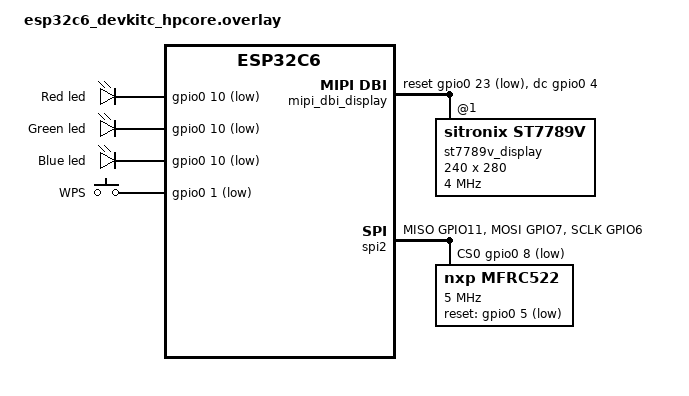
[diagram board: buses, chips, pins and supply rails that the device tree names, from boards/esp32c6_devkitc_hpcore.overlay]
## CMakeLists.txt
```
cmake_minimum_required(VERSION 3.20.0)

# Supported boards:
#   esp32c6_devkitc/esp32c6/hpcore  (default)
#   esp32_devkitc/esp32/procpu
if(NOT DEFINED BOARD)
  set(BOARD esp32c6_devkitc/esp32c6/hpcore )
endif()

find_package(Zephyr REQUIRED HINTS $ENV{ZEPHYR_BASE})

project(baiatool)

file(GLOB_RECURSE SOURCE_FILES
    ${CMAKE_CURRENT_LIST_DIR}/src/*.c
)

if(NOT CONFIG_LVGL)
    list(FILTER SOURCE_FILES EXCLUDE REGEX ".*/services/display\\.c$")
    list(FILTER SOURCE_FILES EXCLUDE REGEX ".*/assets/logo_baiatool\\.c$")
endif()

if(NOT CONFIG_RFID_SERVICE)
    list(FILTER SOURCE_FILES EXCLUDE REGEX ".*/services/rfid\\.c$")
endif()

target_sources(app PRIVATE ${SOURCE_FILES})

target_include_directories(app PRIVATE
    ${CMAKE_CURRENT_LIST_DIR}/includes
)

target_link_options(app PRIVATE -Wl,--wrap=esp_event_post)

# tf-psa-crypto extras/md.c has unused-parameter warnings that become errors
# via zephyr_interface; suppress them for that target only.
if(TARGET extras)
  target_compile_options(extras PRIVATE -Wno-unused-parameter)
endif()
```

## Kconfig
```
menu "Zephyr"
source "Kconfig.zephyr"
endmenu

rsource "Kconfig.storage"
rsource "Kconfig.wifi"
rsource "Kconfig.schedule"
rsource "Kconfig.sntp"
rsource "Kconfig.endpoints"
rsource "Kconfig.led"
rsource "Kconfig.button"
rsource "Kconfig.settings"
rsource "Kconfig.rfid"
rsource "Kconfig.display"

module = MAIN
module-str = main
source "subsys/logging/Kconfig.template.log_config"
```

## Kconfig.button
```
module = BUTTON
module-str = button
source "subsys/logging/Kconfig.template.log_config"
```

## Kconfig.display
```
module = DISPLAY_SERVICE
module-str = display_service
source "subsys/logging/Kconfig.template.log_config"

menu "Display service"

    config DISPLAY_SERVICE_CMD_SUB_QUEUE_SIZE
        int "Display command subscriber queue size"
        default 4

    config DISPLAY_SERVICE_WARNING_MSG_MAX_LEN
        int "Max warning message length in bytes"
        default 64

    config DISPLAY_SERVICE_THREAD_STACK_SIZE
        int "Display service thread stack size"
        default 8192
        help
          Stack must accommodate LVGL rendering + snprintf buffers.

    config DISPLAY_SERVICE_THREAD_PRIORITY
        int "Display service thread priority"
        default 6

    config DISPLAY_SERVICE_LVGL_PERIOD_MS
        int "LVGL timer handler period in milliseconds"
        default 20
        help
          Period at which lv_timer_handler() is called when no zbus
          event arrives. Controls UI animation / refresh rate.

endmenu
```

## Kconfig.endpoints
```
module = SCHEDULE_ENDPOINT
module-str = schedule_endpoint
source "subsys/logging/Kconfig.template.log_config"

module = CONFIRM_SCHEDULE_ENDPOINT
module-str = confirm_schedule_endpoint
source "subsys/logging/Kconfig.template.log_config"

module = CHECKOUT_ENDPOINT
module-str = checkout_endpoint
source "subsys/logging/Kconfig.template.log_config"

module = DIAGNOSTIC_ENDPOINT
module-str = diagnostic_endpoint
source "subsys/logging/Kconfig.template.log_config"

menu "Endpoints"
    config HTTP_RECV_BUF_SIZE
        int "Size for receive buffer in HTTP response"
        default 512

    config HTTP_BODY_BUF_SIZE
        int "Size of HTTP body response"
        default 256

    config SERVER_HOST
        string "Baiatool server hostname"
        default "192.0.2.1"
        help
            Mocked placeholder until the real server address is defined.
            Used by the id_manager to open sockets autonomously (without a
            shell command providing host/port).

    config SERVER_PORT
        string "Baiatool server port"
        default "80"
        help
            Mocked placeholder until the real server address is defined.
endmenu
```

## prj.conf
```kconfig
# NVS
CONFIG_NVS=y
CONFIG_FLASH=y

# Networking
CONFIG_NETWORKING=y
CONFIG_NET_IPV4=y
CONFIG_NET_IPV6=n
CONFIG_NET_TCP=y
CONFIG_NET_DHCPV4=y
CONFIG_NET_L2_ETHERNET=y

# WiFi
CONFIG_WIFI=y
CONFIG_NET_L2_WIFI_MGMT=y
CONFIG_NET_MGMT=y
CONFIG_NET_MGMT_EVENT=y
CONFIG_NET_MGMT_EVENT_INFO=y
CONFIG_NET_MGMT_EVENT_QUEUE_SIZE=8
CONFIG_NET_MGMT_EVENT_QUEUE_TIMEOUT=5000

# ESP32 WiFi
CONFIG_ESP32_WIFI_STA_AUTO_DHCPV4=y

# HTTP client
CONFIG_HTTP_CLIENT=y
CONFIG_DNS_RESOLVER=y

# TLS
CONFIG_NET_SOCKETS_SOCKOPT_TLS=y
CONFIG_TLS_CREDENTIALS=y
CONFIG_MBEDTLS_ENABLE_HEAP=y
CONFIG_MBEDTLS_HEAP_SIZE=49152
CONFIG_MBEDTLS_SSL_MAX_CONTENT_LEN=4096
CONFIG_MBEDTLS_CIPHERSUITE_TLS_ECDHE_RSA_WITH_AES_128_GCM_SHA256=y
CONFIG_MBEDTLS_CIPHERSUITE_TLS_ECDHE_ECDSA_WITH_AES_128_GCM_SHA256=y
CONFIG_PSA_WANT_KEY_TYPE_RSA_PUBLIC_KEY=y
CONFIG_PSA_WANT_KEY_TYPE_ECC_PUBLIC_KEY=y

# Net buffers
CONFIG_NET_PKT_RX_COUNT=6
CONFIG_NET_PKT_TX_COUNT=6
CONFIG_NET_BUF_RX_COUNT=12
CONFIG_NET_BUF_TX_COUNT=12
CONFIG_NET_MAX_CONTEXTS=4

# Heap — WPS/wpa_supplicant allocates via k_malloc when this is set;
# 48 KB covers all concurrent WiFi + WPS structs and string buffers.
CONFIG_HEAP_MEM_POOL_SIZE=55576

# JSON library
CONFIG_JSON_LIBRARY=y

# Stacks — WiFi needs extra room on ESP32
CONFIG_MAIN_STACK_SIZE=5200
CONFIG_SHELL_STACK_SIZE=4096
CONFIG_NET_TX_STACK_SIZE=2048
CONFIG_NET_RX_STACK_SIZE=2048

# SNTP
CONFIG_SNTP=y
CONFIG_NET_UDP=y

# ZBUS
CONFIG_ZBUS=y

# Shell
CONFIG_SHELL=y
CONFIG_SHELL_BACKEND_SERIAL=y
CONFIG_SHELL_HTTP=n
CONFIG_SHELL_LED=y
CONFIG_SHELL_STORAGE=n
CONFIG_SHELL_WIFI=n
CONFIG_SHELL_SETTINGS=n
CONFIG_SHELL_ENDPOINT=n

# Logging
CONFIG_LOG=y
CONFIG_NET_LOG=y
CONFIG_LOG_DEFAULT_LEVEL=3

CONFIG_POSIX_TIMERS=y

# GPIO
CONFIG_GPIO=y

# SPI
CONFIG_SPI=y
CONFIG_SENSOR=y
CONFIG_SENSOR_LOG_LEVEL_ERR=y
CONFIG_RFID_SERVICE=y
```

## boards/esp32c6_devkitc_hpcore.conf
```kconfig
CONFIG_ESP32_USE_UNSUPPORTED_REVISION=y

# Display shell for manual screen switching
CONFIG_SHELL_DISPLAY=y

# Display (ST7789V via SPI2 + MIPI DBI)
CONFIG_DISPLAY=y
CONFIG_MIPI_DBI=y
CONFIG_ST7789V=y
CONFIG_DISPLAY_LOG_LEVEL_INF=y
CONFIG_MIPI_DBI_LOG_LEVEL_DBG=y

# LVGL
CONFIG_LVGL=y
CONFIG_LV_COLOR_DEPTH_16=y
CONFIG_LV_Z_MEM_POOL_SIZE=16384
CONFIG_LV_Z_VDB_SIZE=5
CONFIG_LV_Z_AUTO_INIT=y
```

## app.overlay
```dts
/*
 * MFRC522 on SPI2 (HSPI), ESP32 DevKitC.
 */

#include <zephyr/dt-bindings/pinctrl/esp32-pinctrl.h>

&pinctrl {
	spim2_default: spim2_default {
		group1 {
			pinmux = <SPIM2_MISO_GPIO12>,
				 <SPIM2_MOSI_GPIO13>,
				 <SPIM2_SCLK_GPIO14>;
		};
	};
};

&spi2 {
	status = "okay";
	pinctrl-0 = <&spim2_default>;
	pinctrl-names = "default";
	cs-gpios = <&gpio0 15 GPIO_ACTIVE_LOW>;

	mfrc522: mfrc522@0 {
		compatible = "nxp,mfrc522";
		reg = <0>;
		spi-max-frequency = <5000000>;
		reset-gpios = <&gpio0 4 GPIO_ACTIVE_LOW>;
		status = "okay";
	};
};
```

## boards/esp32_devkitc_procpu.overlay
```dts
#include <zephyr/dt-bindings/pinctrl/esp32-pinctrl.h>
#include <zephyr/dt-bindings/mipi_dbi/mipi_dbi.h>

/ {
	aliases {
		red-led = &led0;
		green-led = &led1;
		blue-led = &led2;
		btn-wps = &btn;
	};

	gpio_leds {
		compatible = "gpio-leds";

		led0: red {
			gpios = <&gpio0 26 GPIO_ACTIVE_LOW>;
			label = "Red led";
		};

		led1: green {
			gpios = <&gpio0 14 GPIO_ACTIVE_LOW>;
			label = "Green led";
		};

		led2: blue {
			gpios = <&gpio0 27 GPIO_ACTIVE_LOW>;
			label = "Blue led";
		};
	};

	gpio_keys {
		compatible = "gpio-keys";
		debounce-interval-ms = <50>;

		btn: button {
			label = "WPS";
			gpios = <&gpio1 4 GPIO_ACTIVE_LOW>;
		};
	};
};

&flash0 {
	partitions {
		storage_partition: partition@3b0000 {
			label = "storage";
			reg = <0x3B0000 DT_SIZE_K(192)>;
		};
	};
};

&pinctrl {
	spim2_default: spim2_default {
		/* GPIO21 = MOSI (SDA), GPIO22 = SCLK (SCL) */
		group1 {
			pinmux = <SPIM2_MOSI_GPIO21>,
				 <SPIM2_SCLK_GPIO22>;
		};
	};

// 	spim3_default: spim3_default {
// 		group1 {
// 			pinmux = <SPIM3_MISO_GPIO19>,
// 				 <SPIM3_MOSI_GPIO23>,
// 				 <SPIM3_SCLK_GPIO18>;
// 		};
// 	};
};

/ {
	chosen {
		zephyr,display = &st7789v_display;
	};

	mipi_dbi_display {
		compatible = "zephyr,mipi-dbi-spi";
		spi-dev = <&spi2>;
		/* GPIO4 = DC */
		dc-gpios = <&gpio0 4 GPIO_ACTIVE_HIGH>;
		write-only;
		#address-cells = <1>;
		#size-cells = <0>;

		st7789v_display: st7789v@0 {
			compatible = "sitronix,st7789v";
			mipi-max-frequency = <20000000>;
			mipi-mode = "MIPI_DBI_MODE_SPI_4WIRE";
			reg = <0>;
			width = <240>;
			height = <280>;
			x-offset = <0>;
			/* (320 - 280) / 2 = 20: ST7789 RAM is 320 tall, panel is 280 */
			y-offset = <20>;
			vcom = <0x19>;
			gctrl = <0x35>;
			vrhs = <0x12>;
			vdvs = <0x20>;
			mdac = <0x00>;
			gamma = <0x01>;
			colmod = <0x05>;
			lcm = <0x2c>;
			porch-param = [0c 0c 00 33 33];
			cmd2en-param = [5a 69 02 01];
			pwctrl1-param = [a4 a1];
			pvgam-param = [d0 04 0d 11 13 2b 3f 54 4c 18 0d 0b 1f 23];
			nvgam-param = [d0 04 0c 11 13 2c 3f 44 51 2f 1f 1f 20 23];
			ram-param = [00 f0];
			rgb-param = [cd 08 14];
		};
	};
};

&spi2 {
	status = "okay";
	pinctrl-0 = <&spim2_default>;
	pinctrl-names = "default";
	/* GPIO5 = CS */
	cs-gpios = <&gpio0 5 GPIO_ACTIVE_LOW>;
};

// &spi3 {
// 	status = "okay";
// 	pinctrl-0 = <&spim3_default>;
// 	pinctrl-names = "default";
// 	cs-gpios = <&gpio0 5 GPIO_ACTIVE_LOW>;

// 	mfrc522: mfrc522@0 {
// 		compatible = "nxp,mfrc522";
// 		reg = <0>;
// 		spi-max-frequency = <5000000>;
// 		reset-gpios = <&gpio0 4 GPIO_ACTIVE_LOW>;
// 		status = "okay";
// 	};
// };
```

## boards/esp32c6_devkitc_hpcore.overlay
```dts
#include <zephyr/dt-bindings/pinctrl/esp32c6-pinctrl.h>
#include <zephyr/dt-bindings/mipi_dbi/mipi_dbi.h>

/ {
	aliases {
		red-led = &led0;
		green-led = &led1;
		blue-led = &led2;
		btn-wps = &btn;
	};

	gpio_leds {
		compatible = "gpio-leds";

		led0: red {
			gpios = <&gpio0 10 GPIO_ACTIVE_LOW>;
			label = "Red led";
		};

		led1: green {
			gpios = <&gpio0 10 GPIO_ACTIVE_LOW>;
			label = "Green led";
		};

		led2: blue {
			gpios = <&gpio0 10 GPIO_ACTIVE_LOW>;
			label = "Blue led";
		};
	};

	gpio_keys {
		compatible = "gpio-keys";
		debounce-interval-ms = <50>;

		btn: button {
			label = "WPS";
			gpios = <&gpio0 1 GPIO_ACTIVE_LOW>;
		};
	};

	chosen {
		zephyr,display = &st7789v_display;
	};

	mipi_dbi_display {
		compatible = "zephyr,mipi-dbi-spi";
		spi-dev = <&spi2>;
		/* GPIO4 = DC, GPIO23 = RES */
		dc-gpios = <&gpio0 4 GPIO_ACTIVE_HIGH>;
		reset-gpios = <&gpio0 23 GPIO_ACTIVE_LOW>;
		write-only;
		#address-cells = <1>;
		#size-cells = <0>;

		st7789v_display: st7789v@1 {
			compatible = "sitronix,st7789v";
			mipi-max-frequency = <4000000>;
			mipi-mode = "MIPI_DBI_MODE_SPI_4WIRE";
			mipi-cpol;
			mipi-cpha;
			reg = <1>;
			width = <240>;
			height = <280>;
			x-offset = <0>;
			/* (320 - 280) / 2 = 20 */
			y-offset = <20>;
			vcom = <0x19>;
			gctrl = <0x35>;
			vrhs = <0x12>;
			vdvs = <0x20>;
			mdac = <0x00>;
			gamma = <0x01>;
			colmod = <0x55>;
			lcm = <0x2c>;
			porch-param = [0c 0c 00 33 33];
			cmd2en-param = [5a 69 02 01];
			pwctrl1-param = [a4 a1];
			pvgam-param = [d0 04 0d 11 13 2b 3f 54 4c 18 0d 0b 1f 23];
			nvgam-param = [d0 04 0c 11 13 2c 3f 44 51 2f 1f 1f 20 23];
			ram-param = [00 f0];
			rgb-param = [cd 08 14];
		};
	};
};

&flash0 {
	partitions {
		storage_partition: partition@3b0000 {
			label = "storage";
			reg = <0x3B0000 DT_SIZE_K(192)>;
		};
	};
};

&i2c0 {
	status = "disabled";
};

&pinctrl {
	/delete-node/ spim2_default;

	spim2_default: spim2_default {
		/* GPIO6 = SCLK, GPIO7 = MOSI, GPIO11 = MISO */
		group1 {
			pinmux = <SPIM2_MISO_GPIO11>,
				 <SPIM2_MOSI_GPIO7>,
				 <SPIM2_SCLK_GPIO6>;
		};
	};
};

&spi2 {
	status = "okay";
	pinctrl-0 = <&spim2_default>;
	pinctrl-names = "default";
	/* [0] GPIO8 = MFRC522 CS, [1] GPIO18 = OLED CS */
	cs-gpios = <&gpio0 8 GPIO_ACTIVE_LOW>,
		   <&gpio0 18 GPIO_ACTIVE_LOW>;

	mfrc522: mfrc522@0 {
		compatible = "nxp,mfrc522";
		reg = <0>;
		spi-max-frequency = <5000000>;
		/* GPIO5 = RST */
		reset-gpios = <&gpio0 5 GPIO_ACTIVE_LOW>;
		status = "okay";
	};
};
```

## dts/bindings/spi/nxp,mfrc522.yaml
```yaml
description: NXP MFRC522 13.56 MHz RFID reader

compatible: "nxp,mfrc522"

include: [spi-device.yaml, reset-device.yaml]

properties:
  reset-gpios:
    type: phandle-array
    required: true
    description: Active-low hardware reset pin
```

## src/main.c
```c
/*******************************************************************
 *
 *  ████  ████ ███ ████ ███ ████ ████ █
 *  █  ██ █  █  █  █  █  █  █  █ █  █ █
 *  ████  ████  █  ████  █  █  █ █  █ █
 *  █  ██ █  █  █  █  █  █  █  █ █  █ █
 *  ████  █  █ ███ █  █  █  ████ ████ ███
 *
 ********************************************************************
 * @file main.c
 *
 * @brief Implements the scheduling management service for the workstation.
 * @author João Matheus Nascimento Dias (joao.dias@edge.ufal.br)
 * @version 0.1
 * @date 22/06/2026
 *
 * @copyright Copyright (c) 2026
 *
 *******************************************************************/

#include <zephyr/device.h>
#include <zephyr/devicetree.h>
#include <zephyr/drivers/sensor.h>
#include <zephyr/kernel.h>
#include <zephyr/logging/log.h>

LOG_MODULE_REGISTER(main, CONFIG_MAIN_LOG_LEVEL);

int main(void)
{

	return 0;
}
```
